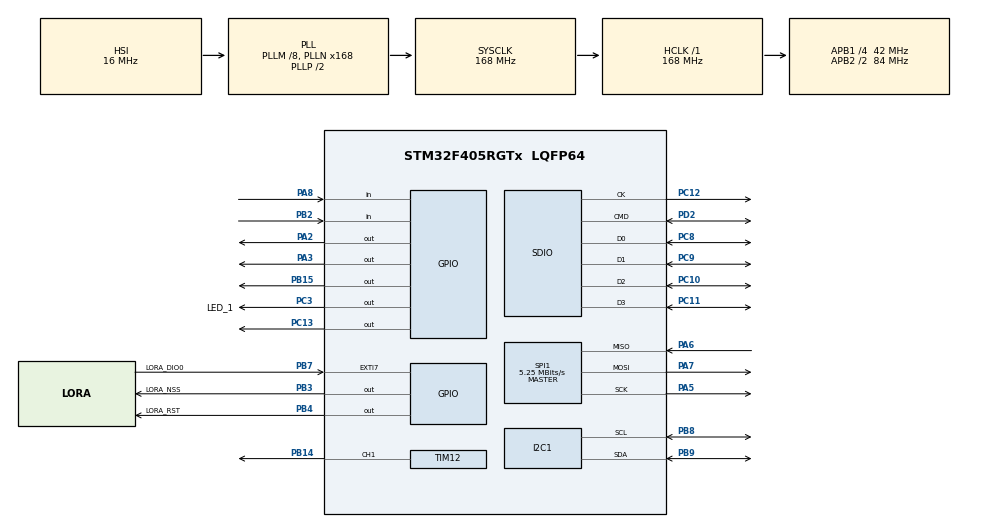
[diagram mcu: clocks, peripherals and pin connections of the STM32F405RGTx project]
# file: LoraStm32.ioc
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FATFS.BSP.number=1
FATFS0.BSP.STBoard=false
FATFS0.BSP.api=Unknown
FATFS0.BSP.instance=PA8
FATFS0.BSP.ip=GPIO
FATFS0.BSP.mode=Input
FATFS0.BSP.name=Detect_SDIO
FATFS0.BSP.solution=PA8
I2C1.I2C_Mode=I2C_Fast
Mcu.Family=STM32F4
Mcu.Name=STM32F405RGTx
Mcu.Package=LQFP64
NVIC.EXTI9_5_IRQn=true\:5\:0\:true\:false\:true\:true\:true\:true
NVIC.PriorityGroup=NVIC_PRIORITYGROUP_4
NVIC.TIM1_UP_TIM10_IRQn=true\:0\:0\:false\:false\:true\:true\:true\:true
NVIC.TIM6_DAC_IRQn=true\:0\:0\:false\:false\:true\:true\:true\:true
NVIC.TIM7_IRQn=true\:0\:0\:false\:false\:true\:true\:true\:true
PA13.Mode=Serial_Wire
PA13.Signal=SYS_JTMS-SWDIO
PA14.Mode=Serial_Wire
PA14.Signal=SYS_JTCK-SWCLK
PA2.Signal=GPIO_Output
PA3.Signal=GPIO_Output
PA5.Mode=Full_Duplex_Master
PA5.Signal=SPI1_SCK
PA6.Mode=Full_Duplex_Master
PA6.Signal=SPI1_MISO
PA7.Mode=Full_Duplex_Master
PA7.Signal=SPI1_MOSI
PA8.Signal=GPIO_Input
PB14.Signal=S_TIM12_CH1
PB15.Signal=GPIO_Output
PB2.Signal=GPIO_Input
PB3.GPIO_Label=LORA_NSS
PB3.Signal=GPIO_Output
PB4.GPIO_Label=LORA_RST
PB4.Signal=GPIO_Output
PB7.GPIO_Label=LORA_DIO0
PB7.GPIO_ModeDefaultEXTI=GPIO_MODE_IT_RISING
PB7.GPIO_PuPd=GPIO_PULLDOWN
PB7.Signal=GPXTI7
PB8.Mode=I2C
PB8.Signal=I2C1_SCL
PB9.Mode=I2C
PB9.Signal=I2C1_SDA
PC10.Mode=SD_4_bits_Wide_bus
PC10.Signal=SDIO_D2
PC11.Mode=SD_4_bits_Wide_bus
PC11.Signal=SDIO_D3
PC12.Mode=SD_4_bits_Wide_bus
PC12.Signal=SDIO_CK
PC13-ANTI_TAMP.Signal=GPIO_Output
PC14-OSC32_IN.Mode=LSE-External-Oscillator
PC14-OSC32_IN.Signal=RCC_OSC32_IN
PC15-OSC32_OUT.Mode=LSE-External-Oscillator
PC15-OSC32_OUT.Signal=RCC_OSC32_OUT
PC3.GPIO_Label=LED_1
PC3.Signal=GPIO_Output
PC8.Mode=SD_4_bits_Wide_bus
PC8.Signal=SDIO_D0
PC9.Mode=SD_4_bits_Wide_bus
PC9.Signal=SDIO_D1
PD2.Mode=SD_4_bits_Wide_bus
PD2.Signal=SDIO_CMD
ProjectManager.HeapSize=0x200
ProjectManager.StackSize=0x400
ProjectManager.TargetToolchain=STM32CubeIDE
RCC.48MHZClocksFreq_Value=48000000
RCC.AHBFreq_Value=168000000
RCC.APB1CLKDivider=RCC_HCLK_DIV4
RCC.APB1Freq_Value=42000000
RCC.APB1TimFreq_Value=84000000
RCC.APB2CLKDivider=RCC_HCLK_DIV2
RCC.APB2Freq_Value=84000000
RCC.APB2TimFreq_Value=168000000
RCC.CortexFreq_Value=168000000
RCC.HCLKFreq_Value=168000000
RCC.HSE_VALUE=16000000
RCC.HSI_VALUE=16000000
RCC.PLLM=8
RCC.PLLN=168
RCC.PLLQ=7
RCC.SYSCLKFreq_VALUE=168000000
RCC.SYSCLKSource=RCC_SYSCLKSOURCE_PLLCLK
RCC.VCOOutputFreq_Value=336000000
SH.S_TIM12_CH1.0=TIM12_CH1,PWM Generation1 CH1
SPI1.BaudRatePrescaler=SPI_BAUDRATEPRESCALER_16
SPI1.CalculateBaudRate=5.25 MBits/s
SPI1.Direction=SPI_DIRECTION_2LINES
SPI1.Mode=SPI_MODE_MASTER
SPI1.VirtualType=VM_MASTER
TIM10.Period=999
TIM10.Prescaler=559
TIM12.Channel-PWM\ Generation1\ CH1=TIM_CHANNEL_1
TIM12.Period=999
TIM12.Prescaler=83
TIM6.Period=999
TIM6.Prescaler=279
TIM7.Period=249
TIM7.Prescaler=83
VP_FATFS_VS_SDIO.Mode=SDIO
VP_TIM10_VS_ClockSourceINT.Mode=Enable_Timer
VP_TIM6_VS_ClockSourceINT.Mode=Enable_Timer
VP_TIM7_VS_ClockSourceINT.Mode=Enable_Timer
board=custom

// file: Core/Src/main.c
/* USER CODE BEGIN Header */
/**
  ******************************************************************************
  * @file           : main.c
  * @brief          : Main program body
  ******************************************************************************
  * @attention
  *
  * Copyright (c) 2026 STMicroelectronics.
  * All rights reserved.
  *
  * This software is licensed under terms that can be found in the LICENSE file
  * in the root directory of this software component.
  * If no LICENSE file comes with this software, it is provided AS-IS.
  *
  ******************************************************************************
  */
/* USER CODE END Header */
#include "main.h"
#include "fatfs.h"

/* USER CODE BEGIN Includes */
#include "lora.h"
#include "telemetria.h"
#include "bmp280.h"
#include "mpu6050.h"
#include <stdio.h>
#include <string.h>
#include <math.h>
#include "sd_functions.h"
#include "HMC5883L.h"
#include "telemetria.h"
#include "BMI270.h"
#include "filter.h"
#include "Madgwick_filter.h"
#include "lora.h"
#include "telemetria.h"
#include "kalman.h"

/* USER CODE END Includes */

/* USER CODE BEGIN PTD */
typedef enum {
	ESTADO_LAUNCHPAD = 0,
	ESTADO_ASCENSO = 1,
	ESTADO_APOGEO = 2, //activación de primera etapa de recuperación
	ESTADO_REEFING_LINE = 3, //activación de segunda etapa de recuperación
	ESTADO_ATERRIZAJE = 4
} EstadoVuelo;

/* USER CODE END PTD */

/* USER CODE BEGIN PD */

//---------Valores de altura predeterminadas para seguridad
#define ALTURA_ERROR_BMP 10
#define ALTURA_DESPEGUE 100
#define DETECCION_DESPEGUE 9
#define ALTURA_REEFING_LINE 500

//----------------------Constantes --------------------
#define presion_nivel_mar (101325.0f) //Este valor esta en pascales

//---------definir los pines I2C para recuperación --------------
#define I2C_RECOV_SCL_PORT  GPIOB
#define I2C_RECOV_SCL_PIN   GPIO_PIN_8

#define I2C_RECOV_SDA_PORT  GPIOB
#define I2C_RECOV_SDA_PIN   GPIO_PIN_9

//-------------definición para calibración de magnetometro------------
#define OFFSET_X 0
#define OFFSET_Y 0
#define OFFSET_Z 0

//------------Prueba aspiradora ---------------------
#define aspiradora 1

//------------Calibración de sensores --------------

//----------Calibración ------------------------
#define BIAS_ACC_X_1   (0.0f)
#define BIAS_ACC_Y_1   (0.0f)
#define BIAS_ACC_Z_1   ( 0.0f)

#define BIAS_ACC_X_2   (-0.3216f)
#define BIAS_ACC_Y_2   (-1.0885f)
#define BIAS_ACC_Z_2   ( 0.6007f)

#define FRECUENCIA_MPU (0.008333333f)

/* USER CODE END PD */

I2C_HandleTypeDef hi2c1;

SD_HandleTypeDef hsd;

SPI_HandleTypeDef hspi1;

TIM_HandleTypeDef htim6;
TIM_HandleTypeDef htim7;
TIM_HandleTypeDef htim10;
TIM_HandleTypeDef htim12;

/* USER CODE BEGIN PV */

//---lecturas bmp280---------
float temperatura = 0.0f;
float presion = 0.0f;
float altura = 0.0f;

//------------------Calibración inicial en el main  --------------------
float presion_acumulacion = 0.0f;
float presion_calibrada_suelo = 0.0f;
int cont_calibracion_bmp;

//----Variables para calcular altitud --------

float altura_nivel_mar = 0.0f; //Es la altura en el suelo
float altura_maxima = 0.0f;
float altura_anterior=0.0f;

//------Variables para estados -----------------
uint32_t tiempo_canal_nicromel_etapa_1 = 0;
uint32_t tiempo_canal_ematch_etapa_1 =0;
uint32_t tiempo_canal_etapa_2 = 0;
uint32_t tiempo_buzzer_aterrizaje=0;
int pwm_activo =0; //para ver si todavia se esta mandando la señal pwm
int cont_aterrizaje=0;//Contar hasta que aterriza
int bandera=1;

int aterrizaje_condiciones=0;

//-----------Variables de aceleración-----------------
//metros por segundo
float acc_x = 0.0f;
float acc_y = 0.0f;
float acc_z = 0.0f;

//grados por segundo
float gyro_x = 0.0f;
float gyro_y = 0.0f;
float gyro_z = 0.0f;

//radianes por segundo
float gx_rad = 0.0f;
float gy_rad = 0.0f;
float gz_rad = 0.0f;

//angulos de rotación
float ang_x = 0.0f;
float ang_y = 0.0f;
float ang_z = 0.0f;

//---------------Variables magnetometro----------------
float mag_x = 0.0f;
float mag_y = 0.0f;
float mag_z = 0.0f;

//------------Gravedad vectorial para sacar aceleracion sin gravedad------
float g_x = 0.0f;
float g_y = 0.0f;
float g_z = 0.0f;

//--------------aceleracion sin gravedad --------------------
float acc_x_sg = 0.0f;
float acc_y_sg = 0.0f;
float acc_z_sg = 0.0f;

//-----bandera para leer cada 500 HZ el imu ------------------
volatile uint8_t imu_300hz = 0;
volatile uint8_t sd_300hz = 0;

//-------Bandera de confirmación de Despegue---------
int DESPEGUE = 0;

//---------------Variables de SD---------------
FATFS SD;
FIL archivo_vuelo;
FRESULT archivo_estatus;
FILINFO fno;

uint8_t bufr[80]; //informacion leida
UINT br; //Para bytes leidos
char header_archivo[] ="t_ms,presion,temperatura,altura,altura_max,ax,ay,az,asgx, asgy, asgz, gx, gy,gz, angx, angy, angz,mx,my,mz,v,act1, act2, estado\r\n";
char lecturas_archivo[200];
char nombre_archivo[20];
int contador_lecturas_guardadas;
int numero_archivo;
char buffer_sd[4096];
uint32_t buffer_sd_len = 0;

//variables a quitar
volatile uint32_t sd_muestras = 0;
volatile uint32_t sd_escrituras = 0;

int ultimo_len = 0;
FRESULT ultimo_error_sd = FR_OK;

//-------------Variables filtro Kalman --------------------
uint8_t bandera_kalman = 0;
uint16_t contador_estable_velocidad = 0;//necesario porque la aceleración sin gravedad tarda en converger
float error_acc_sg = 0.0f;
float acc_vertical = 0.0f;
float velocidad_vertical = 0.0f;
float altura_kalman = 0.0f;
float acc_vertical_medida = 0.0f;

float modulo_acc = 0.0f;

uint32_t tiempo_bmp = 0;
uint32_t tiempo_mag = 0;
uint32_t tiempo_aterrizaje = 0;

//vARIABLES AUXILIARES PARA VER DE CUANTO ES NUESTRA FRECUENCIA PARA EL FILTRO - despues se quitarám
volatile uint32_t tim6_total = 0;
uint32_t contador_madgwick = 0;

uint32_t tim6_hz = 0;
uint32_t madgwick_hz = 0;

uint32_t tiempo_hz = 0;

uint32_t tim6_anterior = 0;
uint32_t madgwick_anterior = 0;

uint32_t tiempo_sync = 0;

/* USER CODE END PV */

void SystemClock_Config(void);
static void MX_GPIO_Init(void);
static void MX_SPI1_Init(void);
static void MX_I2C1_Init(void);
static void MX_SDIO_SD_Init(void);
static void MX_TIM6_Init(void);
static void MX_TIM7_Init(void);
static void MX_TIM10_Init(void);
static void MX_TIM12_Init(void);
/* USER CODE BEGIN PFP */
#define LORA_FREQ_HZ   915000000UL
#define LORA_SF        10          /* 6..12 */
#define LORA_BW_HZ     250000UL    /* 7800..500000 */
#define LORA_CR4       5           /* 4/5..4/8 */
#define LORA_SYNC_WORD 0x12
#define LORA_TX_DBM    17 		/*2..20 dBm (lora_begin pone 17)*/

//-----------------declaración de función recuperación I2C---------------
void i2c_recover_bus(I2C_HandleTypeDef *hi2c);

//------------------incializar SD -----------------------
void inicializarSD();

//---------------inicilizar BMP --------------------
void inicializarBMP();

//----------------Inicializar MPU ------------------
void inicializarMPU();

void HAL_TIM_PeriodElapsedCallback(TIM_HandleTypeDef *htim){
	//-------------Interrupción para la lectura de MPU-------------
    if (htim->Instance == TIM6){
        imu_300hz = 1;
        tim6_total++;
    }

	//--------------Buzzer-------------
	if (htim->Instance == TIM7){
	     HAL_GPIO_TogglePin(GPIOC, GPIO_PIN_13);
	 }

	if (htim->Instance == TIM10){
		 sd_300hz=1;
	}
}

//------------Esta función es para diagnosticar errores en la sd (Prueba)  --------------
void error_led(uint8_t codigo){
    while (1){
        for (uint8_t i = 0; i < codigo; i++){
            HAL_GPIO_WritePin(GPIOC, GPIO_PIN_3, GPIO_PIN_SET);
            HAL_Delay(200);

            HAL_GPIO_WritePin(GPIOC, GPIO_PIN_3, GPIO_PIN_RESET);
            HAL_Delay(200);
        }

        HAL_Delay(1500);
    }
}

//-------------Activación pwm con timer -------------------
void timer_pwm(){

	HAL_TIM_Base_Start_IT(&htim7);
	HAL_Delay(3000);
	HAL_TIM_Base_Stop_IT(&htim7);
	HAL_GPIO_WritePin(GPIOC, GPIO_PIN_13, GPIO_PIN_RESET);

	HAL_GPIO_WritePin(GPIOC,GPIO_PIN_3,GPIO_PIN_SET);
	HAL_Delay(1000);
	HAL_GPIO_WritePin(GPIOC,GPIO_PIN_3,GPIO_PIN_RESET);
	HAL_Delay(1000);
	HAL_GPIO_WritePin(GPIOC,GPIO_PIN_3,GPIO_PIN_SET);
	HAL_Delay(1000);
	HAL_GPIO_WritePin(GPIOC,GPIO_PIN_3,GPIO_PIN_RESET);
	HAL_Delay(1000);

	HAL_TIM_PWM_Start(&htim12, TIM_CHANNEL_1);
	HAL_Delay(8000);
	HAL_TIM_PWM_Stop(&htim12, TIM_CHANNEL_1);
	HAL_Delay(3000);
}
/* USER CODE END PFP */

/* USER CODE BEGIN 0 */
#define TX_GAP_MS 150              /* pausa entre fin de un paquete y el siguiente */

static int      tx_busy;
static uint32_t t_last;            /* inicio del TX en curso, o fin del último */
static volatile uint8_t dio0_irq;  /* lo pone la EXTI de DIO0 */

static void on_tx_done(void)
{
  tx_busy = 0;
  t_last = HAL_GetTick();
  HAL_GPIO_TogglePin(LED_1_GPIO_Port, LED_1_Pin);

}

//-------------------------Creación de objetos ----------------------------

//---------------------Estado de vuelo inicial--------------
EstadoVuelo estado = ESTADO_LAUNCHPAD;

//------------Creación de objetos para BMP280--------------------
BMP280_HandleTypedef bmp280;
bmp280_params_t parametro_bmp280;

//----------------Crear objeto MPU6050 -------------------------------
MPU6050_t mpu6050;

//----------------------Se crea el vector de variables magnetometro --------------------
Vector magnetometro;

//--------------objeto kalman----------------
KalmanVertical_t kalman;
/* USER CODE END 0 */

int main(void)
{

  /* MCU Configuration--------------------------------------------------------*/

  /* Reset of all peripherals, Initializes the Flash interface and the Systick. */
  HAL_Init();

  /* Configure the system clock */
  SystemClock_Config();

  /* Initialize all configured peripherals */
  MX_GPIO_Init();
  MX_SPI1_Init();
  MX_I2C1_Init();
  MX_SDIO_SD_Init();
  MX_TIM6_Init();
  MX_TIM7_Init();
  MX_TIM10_Init();
  MX_TIM12_Init();
  MX_FATFS_Init();
  /* USER CODE BEGIN 2 */

  //---------------Temporizadores auxiliares para delimitar la frecuencia de sensores en interrupciones ------------
  HAL_TIM_Base_Start_IT(&htim6);//MPU6050 a 300 Hz
  HAL_TIM_Base_Start_IT(&htim10);//SD a 300 Hz

  //----------------Inicialización del LORA -----------------------------
  lora_hw_t hw = { &hspi1, LORA_NSS_GPIO_Port, LORA_NSS_Pin, LORA_RST_GPIO_Port, LORA_RST_Pin };
  if (!lora_begin(&hw, LORA_FREQ_HZ)) Error_Handler();

  lora_set_spreading_factor(LORA_SF);
  lora_set_signal_bandwidth(LORA_BW_HZ);
  lora_set_coding_rate4(LORA_CR4);
  lora_set_sync_word(LORA_SYNC_WORD);
  lora_set_crc(1);

  lora_set_tx_power(LORA_TX_DBM, LORA_PA_OUTPUT_PA_BOOST);

  lora_on_tx_done(on_tx_done);     /* callback a DIO0  */

  telemetria_t tel;

  //--------------------inicializar SD ------------------
  inicializarSD();

//-------------------inicializar BMP ----------------------
  inicializarBMP();

  //------------inicializar MPU ----------------------

  inicializarMPU();

 	//-------------Configuración magnetometro-----------------------------
 	HMC5883L_setOffset(OFFSET_X, OFFSET_Y, OFFSET_Z);
 	HMC5883L_setRange(HMC5883L_RANGE_1_3GA);
 	HMC5883L_setMeasurementMode(HMC5883L_CONTINOUS);
 	HMC5883L_setDataRate(HMC5883L_DATARATE_75HZ);
 	HMC5883L_setSamples(HMC5883L_SAMPLES_8);

 	//-------------Señal de estado de que se inicializaron todos los sensores y demás dpositivos -----------------

 	//-----------Buzzer ------------------
 	HAL_TIM_Base_Start_IT(&htim7);
 	HAL_Delay(3000);
 	HAL_TIM_Base_Stop_IT(&htim7);
 	HAL_Delay(1000);

 	tiempo_sync = HAL_GetTick();

  /* USER CODE END 2 */

  /* Infinite loop */
  /* USER CODE BEGIN WHILE */
  while (1)
  {
	  if (imu_300hz) {
	  	imu_300hz = 0;
	  	MPU6050_ReadAccel(&hi2c1, &mpu6050);
	  	MPU6050_ReadGyro(&hi2c1, &mpu6050);

	  	acc_x = (float) mpu6050.acc_raw[1] / 2048.0f * 9.80665f;
	  	acc_y = (float) mpu6050.acc_raw[2] / 2048.0f * 9.80665f;
	  	acc_z = (float) mpu6050.acc_raw[0] / 2048.0f * 9.80665f;

	  	//-------------Correcciones que se obtuvieron por datos ----------------
	  	acc_x = acc_x - BIAS_ACC_X_2;
	  	acc_y = acc_y - BIAS_ACC_Y_2;
	  	acc_z = acc_z - BIAS_ACC_Z_2;

	  	gyro_x = (float) mpu6050.gyro_raw[1] / 16.4f;
	  	gyro_y = (float) mpu6050.gyro_raw[2] / 16.4f;
	  	gyro_z = (float) mpu6050.gyro_raw[0] / 16.4f;

	  	//------------Se obtiene en radianes por segundo para el filtro----------
	  	gx_rad = gyro_x * 0.01745329252f;
	  	gy_rad = gyro_y * 0.01745329252f;
	  	gz_rad = gyro_z * 0.01745329252f;

	  	//------------Filtro Madwick para cuaterniones y angulos -----------
	  	MadgwickAHRSupdateIMU(gx_rad, gy_rad, gz_rad, acc_x, acc_y, acc_z);
	  	contador_madgwick++; //--------------contador para ver si son los 300Hz------------

	  	//--------Obtención de angulos de rotación--------------------
	  	computeAngles(); //Variables extern roll, pitch, yaw
	  	ang_x = roll;
	  	ang_y = pitch;
	  	ang_z = yaw;

	  	//---------Gravedad vectorial para sacar aceleración sin gravedad con madwick----------
	  	computeGravity(&g_x,&g_y,&g_z);

	  	//---------aceleracion sin gravedad -----------------
	  	acc_x_sg = acc_x - g_x;
	  	acc_y_sg = acc_y - g_y;
	  	acc_z_sg = acc_z - g_z;

	  	acc_vertical_medida =(acc_x*g_x + acc_y*g_y + acc_z*g_z)/ 9.80665f;
	  	acc_vertical =acc_vertical_medida-9.80665f;

	  	//------------se calcula el módulo para analizar convergencia ------------------
	  	error_acc_sg = sqrtf(acc_x_sg*acc_x_sg+acc_y_sg*acc_y_sg+acc_z_sg*acc_z_sg);

	  	//------------bandera para que a partir de la convergencia de la aceleración se active kalman ----------
	  	if (!bandera_kalman){
	  		if (error_acc_sg < 0.5f){
	  			contador_estable_velocidad++;
	  		if (contador_estable_velocidad >= 500){
	  			Kalman_Init(&kalman);
	  			kalman.altura = altura;
	  			kalman.velocidad = 0.0f;

	  			bandera_kalman= 1;
	  			}
	  		}
	  		else
	  			contador_estable_velocidad = 0;
	  	}

	  	//-----------Predicción kalman --------------
	  	if (bandera_kalman){
	  		Kalman_Predict(&kalman,acc_vertical,FRECUENCIA_MPU);
	  		velocidad_vertical = kalman.velocidad;
	  		altura_kalman = kalman.altura;
	  	 }
	  	}

	  if (sd_300hz)
	  		{
	  		    sd_300hz = 0;
	  	        int len = snprintf(
	  		        lecturas_archivo,
	  		        sizeof(lecturas_archivo),

	  		        "%lu,"
	  		        "%.4f,%.4f,%.4f,%.4f,"
	  		        "%.4f,%.4f,%.4f,"
	  		        "%.4f,%.4f,%.4f,"
	  		        "%.4f,%.4f,%.4f,"
	  		        "%.4f,%.4f,%.4f,"
	  		        "%.4f,%.4f,%.4f,"
	  		        "%.4f,"
	  		        "%d,%d,%d\r\n",

	  		        HAL_GetTick(),

	  		        presion,
	  		        temperatura,
	  		        altura,
	  		        altura_maxima,

	  		        acc_x,
	  		        acc_y,
	  		        acc_z,

	  		        acc_x_sg,
	  		        acc_y_sg,
	  		        acc_z_sg,

	  				gyro_x,
	  				gyro_y,
	  				gyro_z,

	  		        ang_x,
	  		        ang_y,
	  		        ang_z,

	  		        mag_x,
	  		        mag_y,
	  		        mag_z,

	  		        velocidad_vertical,

	  		        0,
	  		        0,
	  		        estado
	  		    );

	  		    ultimo_len = len;
	  		    sd_muestras++;

	  		    if (len > 0 && len < sizeof(lecturas_archivo))
	  		    {
	  		        if (buffer_sd_len + len < sizeof(buffer_sd))
	  		        {
	  		            memcpy(&buffer_sd[buffer_sd_len],
	  		                   lecturas_archivo,
	  		                   len);

	  		            buffer_sd_len += len;
	  		        }
	  		    }

	  		    if (buffer_sd_len > 512)
	  		    {

	  		        ultimo_error_sd =
	  		            sd_write_buffer(buffer_sd, buffer_sd_len);

	  		        if (ultimo_error_sd == FR_OK)
	  		        {
	  		            sd_escrituras++;
	  		            buffer_sd_len = 0;
	  		        }

	  		    }
	  		}

	  	//----------------Se escribe cada que supera ese almacenamiento---------------
	    if (buffer_sd_len > 512){
	    	sd_write_buffer(buffer_sd, buffer_sd_len);
	  		if (archivo_estatus == FR_OK){
	  		            buffer_sd_len = 0;
	  		 }

	  	}

	 //----------------Lee el bmp a 50 Hz --------------
	 if(HAL_GetTick()-tiempo_bmp >= 20){

	  	tiempo_bmp=HAL_GetTick();

	  	if(!bmp280_read_float(&bmp280, &temperatura, &presion, NULL)) {
	  		printf("No se pudieron asignar valores .... BMP280\n");
	  	}

	  	altura=CalcularAltura(presion, presion_nivel_mar) - altura_nivel_mar;

	  	if (isnan(altura)){
	  		printf("No se pudo calcular la medida de altura\n");
	  	}

	  	if (bandera_kalman){
	  		Kalman_UpdateBaro(&kalman, altura);
	  	}
	 }

	 //--------Activación de Bandera de Estado de DESPEGUE--------
	 if (altura > DETECCION_DESPEGUE && DESPEGUE == 0) {
		 DESPEGUE = 1;
	     }

	 //---------------Se lee magnetometro cada 50 Hz -------------------
	 if(HAL_GetTick()-tiempo_mag>=20){

	  	tiempo_mag=HAL_GetTick();

	  	//-------------Obtención de datos del magnetometro-----------
	  	magnetometro = HMC5883L_readNormalize();
	  	mag_x = magnetometro.XAxis;
	  	mag_y = magnetometro.YAxis;
	  	mag_z = magnetometro.ZAxis;

	  }

	 //-----------Guardado de datos cada segundo para no bajar la frecuencia de filtrado ---------------
	 if ((HAL_GetTick()-tiempo_sync) >= 1000){
		 tiempo_sync = HAL_GetTick();

	  	 FRESULT res_sync = sd_sync();
	  	 if (res_sync != FR_OK){
	  		archivo_estatus = res_sync;
	  	}
	  }

	 //-----------------Función auxiliar para debuggear el filtrado y ver a cuanta frecuencia llega ---------------
	/* if ((HAL_GetTick() - tiempo_hz) >= 1000){
		 int32_t ahora = HAL_GetTick();
		 uint32_t dt = ahora - tiempo_hz;

	  	 uint32_t tim6_actual = tim6_total;
	  	 uint32_t madgwick_actual = contador_madgwick;

	  	 tim6_hz =((tim6_actual - tim6_anterior) * 1000UL) / dt;

	  	 madgwick_hz =((madgwick_actual - madgwick_anterior) * 1000UL) / dt;

	     tim6_anterior = tim6_actual;
	     madgwick_anterior = madgwick_actual;

	  	 tiempo_hz = ahora;
	 }
*/
	//--------------------Actualización de datos por telemetria -----------------
	tel.t_ms = HAL_GetTick();
	tel.Altitud=altura;
	tel.AccX=acc_x_sg;
	tel.AccY=acc_y_sg;
	tel.AccZ=acc_z_sg;
	tel.GyrX=gyro_x;
	tel.GyrY=gyro_y;
	tel.GyrZ=gyro_z;
	tel.MagX=mag_x;
	tel.MagY=mag_y;
	tel.MagZ=mag_z;
	tel.VelX=velocidad_vertical;
	tel.Presion=presion;
    tel.confirmacion_despegue=DESPEGUE;
    /* USER CODE END WHILE */

    /* USER CODE BEGIN 3 */
   if (dio0_irq) {			/* -> on_tx_done() */
      dio0_irq = 0;
      lora_handle_dio0();
    }
    if (tx_busy) {
    	// si el tx sigue on y ademas ha pasado un timeout, automaticamente resetea el LoRa (solo por si acaso)
      if (HAL_GetTick() - t_last > LORA_TX_TIMEOUT_MS) {
        lora_idle();
        tx_busy = 0;
      }

    } else if (HAL_GetTick() - t_last >= TX_GAP_MS) { // TX_GAP_MS, indica la frecuencia de envio
      /* paquete en ceros */

     if (lora_begin_packet(0)) {
        lora_write((uint8_t *)&tel, sizeof tel);
        lora_end_packet(1);                         /* vuelve al instante */
      tx_busy = 1;
      t_last = HAL_GetTick();
     }
    }

	//-------------Obtención de altura máxima ------------------
	if (altura > altura_maxima)
	   altura_maxima = altura;

    /*Insertar logica de vuelo aqui */
    if(aspiradora){
    //----------------------Lógica de vuelo -----------------------------
    	switch(estado){
    		case ESTADO_LAUNCHPAD:
    			if(altura > ALTURA_DESPEGUE){
    				estado=ESTADO_ASCENSO;
    			}
    		 break;
    		case ESTADO_ASCENSO:
    			if(altura <(altura_maxima - ALTURA_ERROR_BMP)){
    				estado=ESTADO_APOGEO;
    				HAL_TIM_PWM_Start(&htim12, TIM_CHANNEL_1);
    				pwm_activo = 1;
    				HAL_GPIO_WritePin(GPIOA,GPIO_PIN_3,GPIO_PIN_SET);
    				//----------se empieza a contar el tiempo para dejar encendido ....etapa 1 ----------
    				tiempo_canal_ematch_etapa_1=HAL_GetTick();
    				//----------se empieza a contar el tiempo para dejar encendido ambos canales....etapa 1 ----------
    				tiempo_canal_nicromel_etapa_1=HAL_GetTick();

    		 	 }
    		 break;

    		case ESTADO_APOGEO:
    			 //-------------tiempo de encendido canal 1 nicromel-----------------
    			 if(HAL_GetTick()-tiempo_canal_nicromel_etapa_1>=4000 && pwm_activo==1){
    				 HAL_TIM_PWM_Stop(&htim12, TIM_CHANNEL_1);
    				 pwm_activo = 0;
    			 }

    			 //------------tiempo de encendido canal 1 ematch ------------------
    			 if(HAL_GetTick()-tiempo_canal_etapa_2>=1000){
    			     HAL_GPIO_WritePin(GPIOA,GPIO_PIN_3,GPIO_PIN_RESET);
    			 }

    		 //condición para la reefing line
    		 if(altura<=ALTURA_REEFING_LINE){
    			 estado=ESTADO_REEFING_LINE;
    			 HAL_GPIO_WritePin(GPIOA,GPIO_PIN_2,GPIO_PIN_SET);
    			 //----------se empieza a contar el tiempo para dejar encendido ....etapa 1 ----------
    			 tiempo_canal_etapa_2=HAL_GetTick();

    		 }
    		 break;

    		 case ESTADO_REEFING_LINE:

    		 if(pwm_activo==1 && HAL_GetTick()-tiempo_canal_nicromel_etapa_1>=4000){
    				 HAL_TIM_PWM_Stop(&htim12, TIM_CHANNEL_1);
    				 pwm_activo=0;
    				 aterrizaje_condiciones=1;
    				 tiempo_aterrizaje=HAL_GetTick();
    	      }

    		 if(HAL_GetTick()-tiempo_canal_etapa_2>=1000){
    		 HAL_GPIO_WritePin(GPIOA,GPIO_PIN_2,GPIO_PIN_RESET);
    		 	 if(aterrizaje_condiciones==1){
    		 		aterrizaje_condiciones=2;
    		 	 }
    		 }

			 //------------tiempo de encendido canal 1 ematch ------------------
			 if(HAL_GetTick()-tiempo_canal_etapa_2>=1000){
			     HAL_GPIO_WritePin(GPIOA,GPIO_PIN_3,GPIO_PIN_RESET);
			     if(aterrizaje_condiciones==2){
			         aterrizaje_condiciones=3;
			     }
			 }

    		 if(abs(altura-altura_anterior)<1){
    			 cont_aterrizaje++;
    		 }else
    			 cont_aterrizaje--;

    		 if(cont_aterrizaje>=10000 && aterrizaje_condiciones==3 && (HAL_GetTick()-tiempo_aterrizaje)>=30000){
    			 estado=ESTADO_ATERRIZAJE;
    		 }
    		 break;

    		 case ESTADO_ATERRIZAJE:
    			 	if(bandera){
    			 		sd_close_log();
    			 		HAL_TIM_Base_Start_IT(&htim7);
    			 		bandera=0;
    			 		tiempo_buzzer_aterrizaje=HAL_GetTick();
    			 	}

    			 	if(HAL_GetTick()-tiempo_buzzer_aterrizaje>=100000){
    			 		HAL_TIM_Base_Stop_IT(&htim7);
    			 	}
    		 break;

    		 }
    		 }
    		 altura_anterior=altura;

  }
  /* USER CODE END 3 */
}

void SystemClock_Config(void)
{
  RCC_OscInitTypeDef RCC_OscInitStruct = {0};
  RCC_ClkInitTypeDef RCC_ClkInitStruct = {0};

  /** Configure the main internal regulator output voltage
  */
  __HAL_RCC_PWR_CLK_ENABLE();
  __HAL_PWR_VOLTAGESCALING_CONFIG(PWR_REGULATOR_VOLTAGE_SCALE1);

  /** Initializes the RCC Oscillators according to the specified parameters
  * in the RCC_OscInitTypeDef structure.
  */
  RCC_OscInitStruct.OscillatorType = RCC_OSCILLATORTYPE_HSI;
  RCC_OscInitStruct.HSIState = RCC_HSI_ON;
  RCC_OscInitStruct.HSICalibrationValue = RCC_HSICALIBRATION_DEFAULT;
  RCC_OscInitStruct.PLL.PLLState = RCC_PLL_ON;
  RCC_OscInitStruct.PLL.PLLSource = RCC_PLLSOURCE_HSI;
  RCC_OscInitStruct.PLL.PLLM = 8;
  RCC_OscInitStruct.PLL.PLLN = 168;
  RCC_OscInitStruct.PLL.PLLP = RCC_PLLP_DIV2;
  RCC_OscInitStruct.PLL.PLLQ = 7;
  if (HAL_RCC_OscConfig(&RCC_OscInitStruct) != HAL_OK)
  {
    Error_Handler();
  }

  /** Initializes the CPU, AHB and APB buses clocks
  */
  RCC_ClkInitStruct.ClockType = RCC_CLOCKTYPE_HCLK|RCC_CLOCKTYPE_SYSCLK
                              |RCC_CLOCKTYPE_PCLK1|RCC_CLOCKTYPE_PCLK2;
  RCC_ClkInitStruct.SYSCLKSource = RCC_SYSCLKSOURCE_PLLCLK;
  RCC_ClkInitStruct.AHBCLKDivider = RCC_SYSCLK_DIV1;
  RCC_ClkInitStruct.APB1CLKDivider = RCC_HCLK_DIV4;
  RCC_ClkInitStruct.APB2CLKDivider = RCC_HCLK_DIV2;

  if (HAL_RCC_ClockConfig(&RCC_ClkInitStruct, FLASH_LATENCY_5) != HAL_OK)
  {
    Error_Handler();
  }
}

static void MX_I2C1_Init(void)
{

  hi2c1.Instance = I2C1;
  hi2c1.Init.ClockSpeed = 400000;
  hi2c1.Init.DutyCycle = I2C_DUTYCYCLE_2;
  hi2c1.Init.OwnAddress1 = 0;
  hi2c1.Init.AddressingMode = I2C_ADDRESSINGMODE_7BIT;
  hi2c1.Init.DualAddressMode = I2C_DUALADDRESS_DISABLE;
  hi2c1.Init.OwnAddress2 = 0;
  hi2c1.Init.GeneralCallMode = I2C_GENERALCALL_DISABLE;
  hi2c1.Init.NoStretchMode = I2C_NOSTRETCH_DISABLE;
  if (HAL_I2C_Init(&hi2c1) != HAL_OK)
  {
    Error_Handler();
  }

}

static void MX_SDIO_SD_Init(void)
{

  hsd.Instance = SDIO;
  hsd.Init.ClockEdge = SDIO_CLOCK_EDGE_RISING;
  hsd.Init.ClockBypass = SDIO_CLOCK_BYPASS_DISABLE;
  hsd.Init.ClockPowerSave = SDIO_CLOCK_POWER_SAVE_DISABLE;
  hsd.Init.BusWide = SDIO_BUS_WIDE_1B;
  hsd.Init.HardwareFlowControl = SDIO_HARDWARE_FLOW_CONTROL_DISABLE;
  hsd.Init.ClockDiv = 0;
  /* USER CODE BEGIN SDIO_Init 2 */
  hsd.Init.ClockDiv = 40;

  hsd.Init.BusWide = SDIO_BUS_WIDE_1B;
  	  if(HAL_SD_Init(&hsd)!= HAL_OK){
  	    Error_Handler();
  	  }

  	  if(HAL_SD_ConfigWideBusOperation(&hsd,SDIO_BUS_WIDE_4B)!= HAL_OK){
  	    Error_Handler();
  	  }
  /* USER CODE END SDIO_Init 2 */

}

static void MX_SPI1_Init(void)
{

  /* SPI1 parameter configuration*/
  hspi1.Instance = SPI1;
  hspi1.Init.Mode = SPI_MODE_MASTER;
  hspi1.Init.Direction = SPI_DIRECTION_2LINES;
  hspi1.Init.DataSize = SPI_DATASIZE_8BIT;
  hspi1.Init.CLKPolarity = SPI_POLARITY_LOW;
  hspi1.Init.CLKPhase = SPI_PHASE_1EDGE;
  hspi1.Init.NSS = SPI_NSS_SOFT;
  hspi1.Init.BaudRatePrescaler = SPI_BAUDRATEPRESCALER_16;
  hspi1.Init.FirstBit = SPI_FIRSTBIT_MSB;
  hspi1.Init.TIMode = SPI_TIMODE_DISABLE;
  hspi1.Init.CRCCalculation = SPI_CRCCALCULATION_DISABLE;
  hspi1.Init.CRCPolynomial = 10;
  if (HAL_SPI_Init(&hspi1) != HAL_OK)
  {
    Error_Handler();
  }

}

static void MX_TIM6_Init(void)
{

  TIM_MasterConfigTypeDef sMasterConfig = {0};

  htim6.Instance = TIM6;
  htim6.Init.Prescaler = 279;
  htim6.Init.CounterMode = TIM_COUNTERMODE_UP;
  htim6.Init.Period = 999;
  htim6.Init.AutoReloadPreload = TIM_AUTORELOAD_PRELOAD_DISABLE;
  if (HAL_TIM_Base_Init(&htim6) != HAL_OK)
  {
    Error_Handler();
  }
  sMasterConfig.MasterOutputTrigger = TIM_TRGO_RESET;
  sMasterConfig.MasterSlaveMode = TIM_MASTERSLAVEMODE_DISABLE;
  if (HAL_TIMEx_MasterConfigSynchronization(&htim6, &sMasterConfig) != HAL_OK)
  {
    Error_Handler();
  }

}

static void MX_TIM7_Init(void)
{

  TIM_MasterConfigTypeDef sMasterConfig = {0};

  htim7.Instance = TIM7;
  htim7.Init.Prescaler = 83;
  htim7.Init.CounterMode = TIM_COUNTERMODE_UP;
  htim7.Init.Period = 249;
  htim7.Init.AutoReloadPreload = TIM_AUTORELOAD_PRELOAD_DISABLE;
  if (HAL_TIM_Base_Init(&htim7) != HAL_OK)
  {
    Error_Handler();
  }
  sMasterConfig.MasterOutputTrigger = TIM_TRGO_RESET;
  sMasterConfig.MasterSlaveMode = TIM_MASTERSLAVEMODE_DISABLE;
  if (HAL_TIMEx_MasterConfigSynchronization(&htim7, &sMasterConfig) != HAL_OK)
  {
    Error_Handler();
  }

}

static void MX_TIM10_Init(void)
{

  htim10.Instance = TIM10;
  htim10.Init.Prescaler = 559;
  htim10.Init.CounterMode = TIM_COUNTERMODE_UP;
  htim10.Init.Period = 999;
  htim10.Init.ClockDivision = TIM_CLOCKDIVISION_DIV1;
  htim10.Init.AutoReloadPreload = TIM_AUTORELOAD_PRELOAD_DISABLE;
  if (HAL_TIM_Base_Init(&htim10) != HAL_OK)
  {
    Error_Handler();
  }

}

static void MX_TIM12_Init(void)
{

  TIM_OC_InitTypeDef sConfigOC = {0};

  htim12.Instance = TIM12;
  htim12.Init.Prescaler = 83;
  htim12.Init.CounterMode = TIM_COUNTERMODE_UP;
  htim12.Init.Period = 999;
  htim12.Init.ClockDivision = TIM_CLOCKDIVISION_DIV1;
  htim12.Init.AutoReloadPreload = TIM_AUTORELOAD_PRELOAD_DISABLE;
  if (HAL_TIM_PWM_Init(&htim12) != HAL_OK)
  {
    Error_Handler();
  }
  sConfigOC.OCMode = TIM_OCMODE_PWM1;
  sConfigOC.Pulse = 0;
  sConfigOC.OCPolarity = TIM_OCPOLARITY_HIGH;
  sConfigOC.OCFastMode = TIM_OCFAST_DISABLE;
  if (HAL_TIM_PWM_ConfigChannel(&htim12, &sConfigOC, TIM_CHANNEL_1) != HAL_OK)
  {
    Error_Handler();
  }
  HAL_TIM_MspPostInit(&htim12);

}

static void MX_GPIO_Init(void)
{
  GPIO_InitTypeDef GPIO_InitStruct = {0};

  /* GPIO Ports Clock Enable */
  __HAL_RCC_GPIOC_CLK_ENABLE();
  __HAL_RCC_GPIOA_CLK_ENABLE();
  __HAL_RCC_GPIOB_CLK_ENABLE();
  __HAL_RCC_GPIOD_CLK_ENABLE();

  /*Configure GPIO pin Output Level */
  HAL_GPIO_WritePin(GPIOC, GPIO_PIN_13|LED_1_Pin, GPIO_PIN_RESET);

  /*Configure GPIO pin Output Level */
  HAL_GPIO_WritePin(GPIOA, GPIO_PIN_2|GPIO_PIN_3, GPIO_PIN_RESET);

  /*Configure GPIO pin Output Level */
  HAL_GPIO_WritePin(GPIOB, GPIO_PIN_15|LORA_NSS_Pin|LORA_RST_Pin, GPIO_PIN_RESET);

  /*Configure GPIO pins : PC13 LED_1_Pin */
  GPIO_InitStruct.Pin = GPIO_PIN_13|LED_1_Pin;
  GPIO_InitStruct.Mode = GPIO_MODE_OUTPUT_PP;
  GPIO_InitStruct.Pull = GPIO_NOPULL;
  GPIO_InitStruct.Speed = GPIO_SPEED_FREQ_LOW;
  HAL_GPIO_Init(GPIOC, &GPIO_InitStruct);

  /*Configure GPIO pins : PA2 PA3 */
  GPIO_InitStruct.Pin = GPIO_PIN_2|GPIO_PIN_3;
  GPIO_InitStruct.Mode = GPIO_MODE_OUTPUT_PP;
  GPIO_InitStruct.Pull = GPIO_NOPULL;
  GPIO_InitStruct.Speed = GPIO_SPEED_FREQ_LOW;
  HAL_GPIO_Init(GPIOA, &GPIO_InitStruct);

  /*Configure GPIO pin : PB2 */
  GPIO_InitStruct.Pin = GPIO_PIN_2;
  GPIO_InitStruct.Mode = GPIO_MODE_INPUT;
  GPIO_InitStruct.Pull = GPIO_NOPULL;
  HAL_GPIO_Init(GPIOB, &GPIO_InitStruct);

  /*Configure GPIO pins : PB15 LORA_NSS_Pin LORA_RST_Pin */
  GPIO_InitStruct.Pin = GPIO_PIN_15|LORA_NSS_Pin|LORA_RST_Pin;
  GPIO_InitStruct.Mode = GPIO_MODE_OUTPUT_PP;
  GPIO_InitStruct.Pull = GPIO_NOPULL;
  GPIO_InitStruct.Speed = GPIO_SPEED_FREQ_LOW;
  HAL_GPIO_Init(GPIOB, &GPIO_InitStruct);

  /*Configure GPIO pin : PA8 */
  GPIO_InitStruct.Pin = GPIO_PIN_8;
  GPIO_InitStruct.Mode = GPIO_MODE_INPUT;
  GPIO_InitStruct.Pull = GPIO_NOPULL;
  HAL_GPIO_Init(GPIOA, &GPIO_InitStruct);

  /*Configure GPIO pin : LORA_DIO0_Pin */
  GPIO_InitStruct.Pin = LORA_DIO0_Pin;
  GPIO_InitStruct.Mode = GPIO_MODE_IT_RISING;
  GPIO_InitStruct.Pull = GPIO_PULLDOWN;
  HAL_GPIO_Init(LORA_DIO0_GPIO_Port, &GPIO_InitStruct);

  /* EXTI interrupt init*/
  HAL_NVIC_SetPriority(EXTI9_5_IRQn, 5, 0);
  HAL_NVIC_EnableIRQ(EXTI9_5_IRQn);

}

/* USER CODE BEGIN 4 */
/* Solo marca: el SPI se hace en el loop para no chocar con otras transacciones. */
void HAL_GPIO_EXTI_Callback(uint16_t GPIO_Pin)
{
  if (GPIO_Pin == LORA_DIO0_Pin)
    dio0_irq = 1;
}

//_-------------Función para inicializar SD ----------------------
void inicializarSD(){

	  //----------------Se inicializa SD------------------
	  if (BSP_SD_Init() != MSD_OK){
	 	while (1){
	 		HAL_GPIO_TogglePin(GPIOC, GPIO_PIN_3);
	 		HAL_Delay(200);
	 	 	 }
	 	 }

	 	 //-----------Creación e inicialización de archivo SD------------
	 	 if(sd_mount()!=FR_OK){
	 		 while(1){
	 			 HAL_GPIO_TogglePin(GPIOC, GPIO_PIN_3);
	 			 HAL_Delay(200);
	 		 }
	 	 }

	 	 //----------Nombre del archivo ----------------------
	 	 while(1){
	 		 snprintf(nombre_archivo,sizeof(nombre_archivo),"Vuelo%03d.CSV",numero_archivo);
	 		 archivo_estatus=f_stat(nombre_archivo, &fno);
	 		 if(archivo_estatus == FR_NO_FILE)
	 			 break;

	 		 if(archivo_estatus!=FR_OK){
	 			 HAL_GPIO_TogglePin(GPIOC, GPIO_PIN_3);
	 			 HAL_Delay(200);
	 		 }

	 	 numero_archivo++;
	 	 }

	 	 //--------------Abrir sesión de datos -----------
	 	 if(sd_open_log(nombre_archivo) != FR_OK)
	 	 {
	 		 while(1){
	 			 HAL_GPIO_TogglePin(GPIOC, GPIO_PIN_3);
	 			 HAL_Delay(200);
	 		 }
	 	 }

	 	 //---------------------Se escribe el encabezado ---------------------
	 	 if(sd_write_log(header_archivo,&contador_lecturas_guardadas)!=FR_OK)
	 	 {
	 		 while(1){
	 			 HAL_GPIO_TogglePin(GPIOC, GPIO_PIN_3);
	 			 HAL_Delay(200);
	 		 }
	 	 }

	 	 contador_lecturas_guardadas=0;
}

//---------------------funcion para inicializar BMP --------------------
void inicializarBMP(){
	 //--------Inicialización del BMP280-------------
	 	/*Si queremos utilizar I2C*/
	 	bmp280.comm_mode = BMP280_MODE_I2C;
	 	bmp280.i2c = &hi2c1;
	 	bmp280.addr = BMP280_I2C_ADDRESS_0;

	 	bmp280_init_default_params(&parametro_bmp280);
	 	//Si queremos utilizar SPI
	 /*	bmp280.comm_mode=BMP280_MODE_SPI;
	 	bmp280.spi=&hspi1;
	 	bmp280.cs_port=GPIOB;
	 	bmp280.cs_pin=GPIO_PIN_12;
	 	bmp280_init_default_params(&parametro_bmp280);
	*/
	 	//----- Aqui va el cambio de parametros ----
	 	parametro_bmp280.mode = BMP280_MODE_NORMAL;
	 	parametro_bmp280.filter = BMP280_FILTER_4;
	 	//parametro_bmp280.oversampling_pressure = BMP280_HIGH_RES;
	 	parametro_bmp280.standby = BMP280_STANDBY_05;

	 	//----------------Inicialización de  BMP280---------------
	 	while (!bmp280_init(&bmp280, &parametro_bmp280)) {
	 			//-------recuperar I2C--------------------
	 			i2c_recover_bus(&hi2c1);
	 		}

	 		HAL_Delay(100);

	 	//----------Se obtiene por primera vez los datos ----------
	 	while (!bmp280_read_float(&bmp280, &temperatura, &presion, NULL)) {
	 		printf("No se pudieron asignar valores .... BMP280\n");
	 	}

	 	//----------Se calibra la altura inicial para una mejor lectura ----------
	 	while (cont_calibracion_bmp < 100) {
	 		bmp280_read_float(&bmp280, &temperatura, &presion, NULL);
	 		presion_acumulacion = presion_acumulacion + presion;
	 		cont_calibracion_bmp++;
	 		}

	 	presion_calibrada_suelo = presion_acumulacion / (float) cont_calibracion_bmp;

	 	//----- se calcula la altura con respecto a nivel del mar calibrada --------
	 	altura_nivel_mar = CalcularAltura(presion_calibrada_suelo,presion_nivel_mar);

	 	//-------Condición de seguridad ----------
	 	if (isnan(altura_nivel_mar)) {
	 		printf("No se pudo calcular la medida de altura inicial (nivel del mar)\n");
	 		Error_Handler();
	 	}
}

//---------------Inicializar los registros de MPU6050 y calibración de giroscopio -------------------------
void inicializarMPU(){
		while ((MPU6050_Init(&hi2c1) != HAL_OK)) {
			printf("No se dectectó el MPU6050");
			i2c_recover_bus(&hi2c1);
			//Error_Handler();
		}

		MPU6050_CalibrateGyro(&hi2c1, &mpu6050);
}

void i2c_recover_bus(I2C_HandleTypeDef *hi2c) {
	GPIO_InitTypeDef gpio = { 0 };

	HAL_I2C_DeInit(hi2c);

	__HAL_RCC_GPIOB_CLK_ENABLE();

	gpio.Mode = GPIO_MODE_OUTPUT_OD;
	gpio.Pull = GPIO_NOPULL;
	gpio.Speed = GPIO_SPEED_FREQ_LOW;

	gpio.Pin = I2C_RECOV_SCL_PIN;
	HAL_GPIO_Init(I2C_RECOV_SCL_PORT, &gpio);

	gpio.Pin = I2C_RECOV_SDA_PIN;
	HAL_GPIO_Init(I2C_RECOV_SDA_PORT, &gpio);

	HAL_GPIO_WritePin(I2C_RECOV_SCL_PORT,
	I2C_RECOV_SCL_PIN, GPIO_PIN_SET);

	HAL_GPIO_WritePin(I2C_RECOV_SDA_PORT,
	I2C_RECOV_SDA_PIN, GPIO_PIN_SET);

	HAL_Delay(1);

	for (int i = 0; i < 9; i++) {
		if (HAL_GPIO_ReadPin(I2C_RECOV_SDA_PORT,
		I2C_RECOV_SDA_PIN) == GPIO_PIN_SET) {
		break;
		}

		HAL_GPIO_WritePin(I2C_RECOV_SCL_PORT,
		I2C_RECOV_SCL_PIN, GPIO_PIN_RESET);

		HAL_Delay(1);

		HAL_GPIO_WritePin(I2C_RECOV_SCL_PORT,
		I2C_RECOV_SCL_PIN, GPIO_PIN_SET);

		HAL_Delay(1);
	}

	HAL_GPIO_WritePin(I2C_RECOV_SDA_PORT,
	I2C_RECOV_SDA_PIN, GPIO_PIN_RESET);

	HAL_Delay(1);

	HAL_GPIO_WritePin(I2C_RECOV_SCL_PORT,
	I2C_RECOV_SCL_PIN, GPIO_PIN_SET);

	HAL_Delay(1);

	HAL_GPIO_WritePin(I2C_RECOV_SDA_PORT,
	I2C_RECOV_SDA_PIN, GPIO_PIN_SET);

	HAL_Delay(1);

	gpio.Mode = GPIO_MODE_AF_OD;
	gpio.Pull = GPIO_NOPULL;
	gpio.Speed = GPIO_SPEED_FREQ_VERY_HIGH;
	gpio.Alternate = GPIO_AF4_I2C1;

	gpio.Pin = I2C_RECOV_SCL_PIN;
	HAL_GPIO_Init(I2C_RECOV_SCL_PORT, &gpio);

	gpio.Pin = I2C_RECOV_SDA_PIN;
	HAL_GPIO_Init(I2C_RECOV_SDA_PORT, &gpio);

	HAL_I2C_Init(hi2c);
}

/* USER CODE END 4 */

void Error_Handler(void)
{
  __disable_irq();
  while (1)
  {
  }
}
